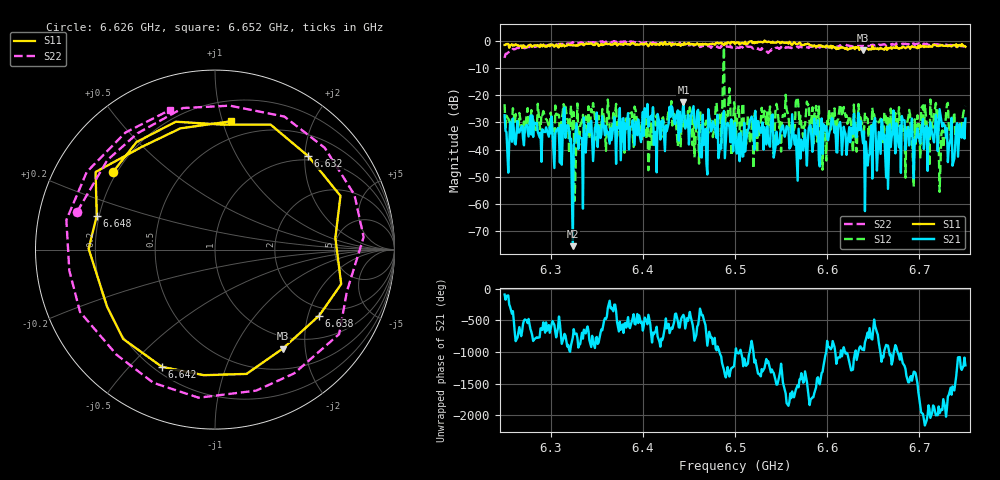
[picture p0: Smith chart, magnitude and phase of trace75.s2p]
# Hz S RI R 50
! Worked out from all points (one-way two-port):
!   401 points, 6.25 GHz to 6.75 GHz, reference 50 ohm
!   highest |S21| = -22.59 dB at 6.444 GHz (marker M1); lowest = -75.4 dB at 6.324 GHz (marker M2)
!   lowest |S11| = -3.5 dB at 6.639 GHz (marker M3), VSWR 5.03, Z = 40 - j79.8 ohm
!   |S11| at or under -10 dB: nowhere
!   |S22| runs from -6.3 to -0.1 dB; largest |S21 - S12| = 0.73
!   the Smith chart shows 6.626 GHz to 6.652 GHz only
!   S11 on the Smith chart (normalised r, x): 6.626 GHz: 0.19, +0.33; 6.632 GHz: 0.92, +2.08; 6.638 GHz: 1.70, -2.37; 6.642 GHz: 0.23, -0.62; 6.648 GHz: 0.19, +0.14; 6.652 GHz: 0.36, +1.07
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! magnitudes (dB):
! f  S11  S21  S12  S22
! 6.25 GHz  -1.6  -27.4  -23.3  -6.3
! 6.31 GHz  -1.3  -44.8  -35.9  -1.5
! 6.316 GHz  -1.9  -35.7  -24.2  -1.5
! 6.324 GHz  -1.8  -75.4  -33.4  -0.6
! 6.334 GHz  -1.2  -35.9  -29.4  -0.7
! 6.418 GHz  -1.6  -30.1  -29.4  -1.2
! 6.444 GHz  -1.6  -22.6  -31.5  -1.6
! 6.5 GHz  -1.1  -30.2  -25.0  -2.3
! 6.584 GHz  -1.9  -40.8  -24.5  -2.1
! 6.626 GHz  -2.9  -31.9  -30.6  -2.0
! 6.632 GHz  -2.7  -35.6  -40.8  -1.6
! 6.638 GHz  -3.3  -35.0  -30.7  -2.3
! 6.639 GHz  -3.5  -37.7  -31.0  -1.5
! 6.642 GHz  -2.9  -37.1  -28.0  -1.6
! 6.648 GHz  -3.3  -31.3  -32.9  -1.7
! 6.652 GHz  -2.8  -28.4  -29.5  -1.7
! 6.668 GHz  -2.8  -30.8  -38.5  -1.5
! 6.694 GHz  -2.4  -50.6  -53.6  -1.0
! 6.718 GHz  -1.6  -27.2  -22.9  -1.4
! 6.724 GHz  -1.8  -29.7  -34.0  -1.6
! 6.73 GHz  -1.9  -32.1  -23.5  -1.5
! 6.75 GHz  -2.3  -28.6  -24.0  -2.2
